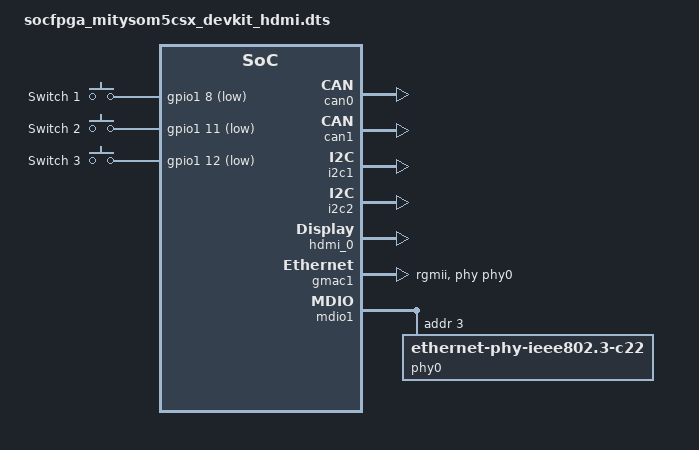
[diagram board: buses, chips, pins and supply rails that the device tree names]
#include "socfpga_mitysom5csx.dtsi"
#include <dt-bindings/interrupt-controller/irq.h>

/ {
	aliases {
		/* this allow the ethaddr uboot environmnet variable contents
		 * to be added to the gmac1 device tree blob.
		 */
		ethernet0 = &gmac1;
	};

	soc {
		can0: can@ffc00000 {
			status = "okay";
		};

		can1: can@ffc01000 {
			status = "okay";
		};

		gpio_keys {
			compatible = "gpio-keys";
			#address-cells = <1>;
			#size-cells = <0>;
			/* GPIO 37 */
			button@1 {
				label = "Switch 1";
				linux,code = <0x101>;
				gpios = <&gpio1 8 1>;
				debounce-interval = <100>;
			};
			/* GPIO 40 */
			button@2 {
				label = "Switch 2";
				linux,code = <0x102>;
				gpios = <&gpio1 11 1>;
				debounce-interval = <100>;
			};
			/* GPIO 41 */
			button@3 {
				label = "Switch 3";
				linux,code = <0x103>;
				gpios = <&gpio1 12 1>;
				debounce-interval = <100>;
			};
		};

		i2c1: i2c@ffc05000 {
			speed-mode = <0>;
			status = "okay";
		};

		i2c2: i2c@ffc06000 {
			speed-mode = <0>;
			status = "okay";
			i2c-sda-hold-time-ns = <0x258>;
			i2c-sda-falling-time-ns = <0x12c>;
			i2c-scl-falling-time-ns = <0x12c>;
		};

		hps_lw_bus: bus@0ff200000 {
			status = "okay";

			sysid_qsys: sysid@000000 {
				compatible = "altr,sysid-1.0";
				reg = <0x000000 0x08>;
			};

			pio_0: gpio@0020 {
				compatible = "altr,pio-1.0";
				reg = <0x0020 0x20>;
				interrupts = <0 40 4>;
				altr,gpio-bank-width = <32>;
				altr,interrupt_type = <IRQ_TYPE_EDGE_RISING>;
				#gpio-cells = <1>;
				gpio-controller;
				#interrupt-cells = <1>;
				interrupt-controller;
			};

			pio_1: gpio@0040 {
				compatible = "altr,pio-1.0";
				reg = <0x0040 0x20>;
				interrupts = <0 41 4>;
				altr,gpio-bank-width = <32>;
				altr,interrupt_type = <IRQ_TYPE_EDGE_RISING>;
				#gpio-cells = <1>;
				gpio-controller;
				#interrupt-cells = <1>;
				interrupt-controller;
			};

			pio_2: gpio@0060 {
				compatible = "altr,pio-1.0";
				reg = <0x0060 0x20>;
				interrupts = <0 42 4>;
				altr,gpio-bank-width = <32>;
				altr,interrupt_type = <IRQ_TYPE_EDGE_RISING>;
				#gpio-cells = <1>;
				gpio-controller;
				#interrupt-cells = <1>;
				interrupt-controller;
			};

			pio_3: gpio@0080 {
				compatible = "altr,pio-1.0";
				reg = <0x0080 0x20>;
				interrupts = <0 43 4>;
				altr,gpio-bank-width = <3>;
				altr,interrupt_type = <IRQ_TYPE_EDGE_RISING>;
				#gpio-cells = <1>;
				gpio-controller;
				#interrupt-cells = <1>;
				interrupt-controller;
			};

			hdmi_0: hdmi0x0100 {
				compatible = "altr,vip-frame-reader-1.0";
				reg = <0x0100 0x80>;
				max-width = <0x500>;
				max-height = <0x2d0>;
				bits-per-color = <0x8>;
				mem-word-width = <0x80>;
			};
		};

		dwmmc0@ff704000 {
			num-slots = <1>;
			supports-highspeed;
			broken-cd;
			altr,dw-mshc-ciu-div = <3>;
			altr,dw-mshc-sdr-timing = <0 3>;

			slot@0 {
				reg = <0>;
				bus-width = <4>;
			};
		};

		gmac1: ethernet@ff702000 {
			status = "okay";
			phy-handle = <&phy0>;
			phy-mode = "rgmii";
			snps,max-mtu = <4062>;
		};

		mdio1: mdio@ff702000 {
			status = "okay";
			#address-cells = <1>;
			#size-cells = <0>;
			phy0: ethernet-phy@0 {
				reg = <0x3>;
				device_type = "ethernet-phy";
				compatible = "ethernet-phy-ieee802.3-c22";
			};
		};
	};
};
